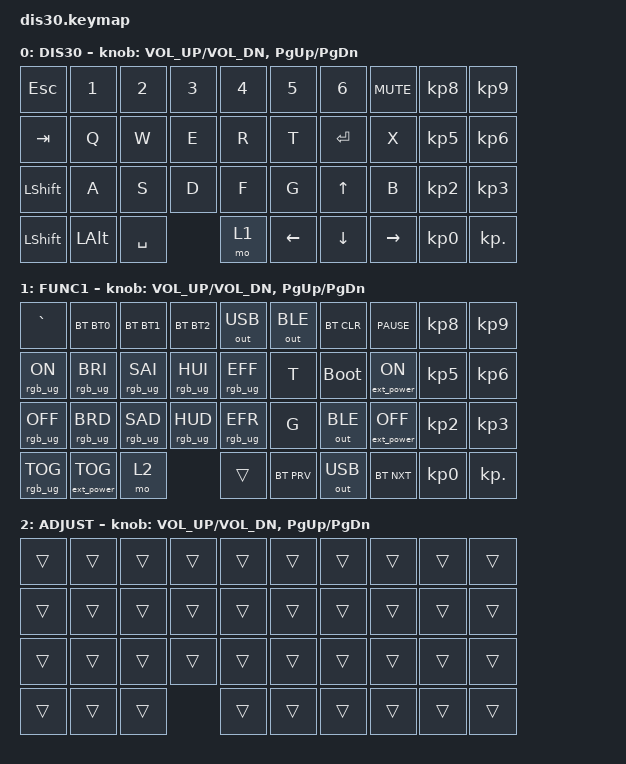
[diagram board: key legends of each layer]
/*
 * Copyright (c) 2021 Nick Winans
 *
 * SPDX-License-Identifier: MIT
 */

#include <behaviors.dtsi>
#include <dt-bindings/zmk/keys.h>
#include <dt-bindings/zmk/bt.h>
#include <dt-bindings/zmk/rgb.h>
#include <dt-bindings/zmk/outputs.h>
#include <dt-bindings/zmk/ext_power.h>

#define BT0 BT_SEL 0
#define BT1 BT_SEL 1
#define BT2 BT_SEL 2
#define USB OUT_USB
#define BLE OUT_BLE

/ {
	keymap {
        compatible = "zmk,keymap";

        default_layer {
            
            label = " DIS30";
            bindings = <
   &kp ESC   &kp N1     &kp N2 &kp N3 &kp N4 &kp N5     &kp N6   &kp C_MUTE  &kp KP_N8  &kp KP_N9
   &kp TAB   &kp Q      &kp W  &kp E  &kp R  &kp T      &kp RET  &kp X       &kp KP_N5  &kp KP_N6
   &kp LSHFT &kp A      &kp S  &kp D  &kp F  &kp G      &kp UP   &kp B       &kp KP_N2  &kp KP_N3
   &kp LSHFT &kp LALT      &kp SPACE  &mo 1  &kp LEFT   &kp DOWN &kp RIGHT   &kp KP_N0  &kp KP_DOT
            >;
            sensor-bindings = <&inc_dec_kp C_VOL_UP C_VOL_DN &inc_dec_kp PG_UP PG_DN>;
        };

        lower_layer {
// -------------------------------------------------------------------------------------
// | F1  | F2  | F3  | F4  | F5  | F6  | F7  | F8  | F9  | F10 | F11 | F12 |     |
// | N1  | N2  | N3  | N4  | N5  | N6  | N7  | N8  | N9  | N0  |  -  |
// |     |     |     |     |     |     |     |     |     |     |     |
// |     |     |     |     |     |     |
            
            label = " FUNC1";
            bindings = <
   &kp GRAVE        &bt BT0        &bt BT1    &bt BT2    &out USB &out BLE   &bt BT_CLR    &kp C_PAUSE          &kp KP_N8  &kp KP_N9
   &rgb_ug RGB_ON   &rgb_ug RGB_BRI     &rgb_ug RGB_SAI &rgb_ug RGB_HUI &rgb_ug RGB_EFF   &kp T          &bootloader   &ext_power EP_ON     &kp KP_N5  &kp KP_N6
   &rgb_ug RGB_OFF  &rgb_ug RGB_BRD     &rgb_ug RGB_SAD &rgb_ug RGB_HUD &rgb_ug RGB_EFR   &kp G          &out OUT_BLE  &ext_power EP_OFF    &kp KP_N2  &kp KP_N3
   &rgb_ug RGB_TOG  &ext_power EP_TOG                &mo 2              &trans            &bt BT_PRV     &out OUT_USB  &bt BT_NXT           &kp KP_N0  &kp KP_DOT
            >;
            sensor-bindings = <&inc_dec_kp C_VOL_UP C_VOL_DN &inc_dec_kp PG_UP PG_DN>;
        };

        adjust_layer {
// -------------------------------------------------------------------------------------
// | RGB BRI+ | RGB SAT+ | RGB HUE+ | RGB ANI+ | RGB TOG |  BT1  |  BT2  |  BT3  |  BT4  |  BT5  | BT CLR |     |     |
// | RGB BRI- | RGB SAT- | RGB HUE- | RGB ANI- |         |       |       |       |       |       |        |
// |  RESET   |          |          |          |         |       |       |       |       |       |        |
// |          |          |                 SPACE                 | BT_PRV|       | BT_NXT|
            label = "ADJUST";
            bindings = <
&trans &trans &trans &trans &trans &trans &trans &trans &trans &trans 
&trans &trans &trans &trans &trans &trans &trans &trans &trans &trans 
&trans &trans &trans &trans &trans &trans &trans &trans &trans &trans 
&trans &trans &trans &trans &trans &trans &trans &trans &trans
            >;
            sensor-bindings = <&inc_dec_kp C_VOL_UP C_VOL_DN &inc_dec_kp PG_UP PG_DN>;
        };
    };
};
